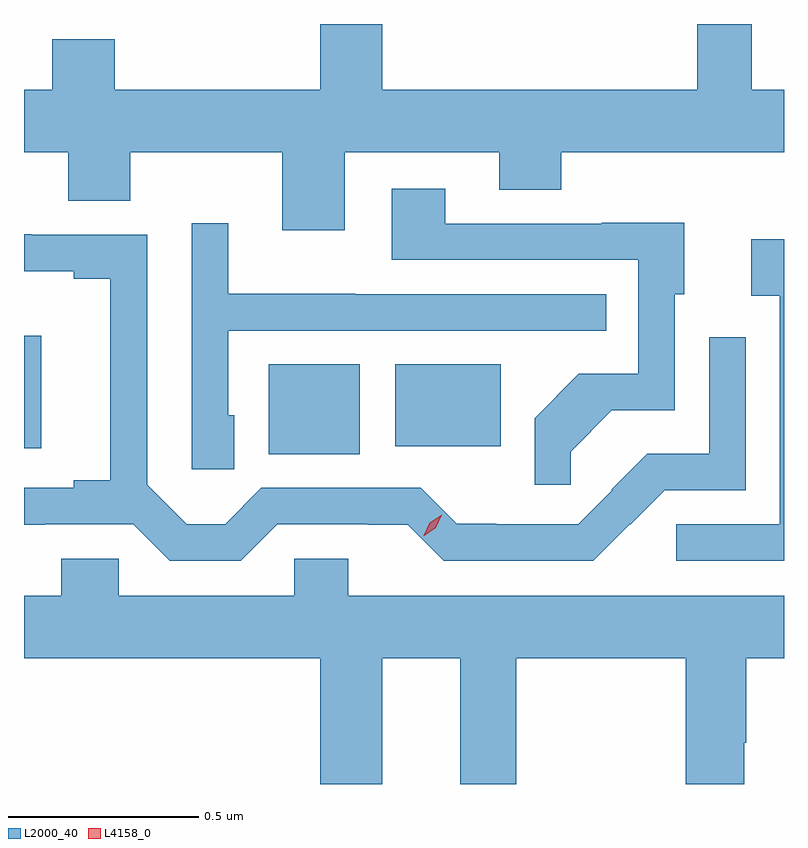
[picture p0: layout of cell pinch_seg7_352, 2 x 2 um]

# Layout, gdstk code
import gdstk
lib = gdstk.Library(unit=1e-6, precision=1e-09)
def R(c, l, rs):  # rectangles x0, y0, x1, y1
    for r in rs: c.add(gdstk.rectangle(r[:2], r[2:], *l))
def P(c, l, *ps):  # polygons
    for p in ps: c.add(gdstk.Polygon(p, *l))
L2000_40 = (2000, 40)
L4158_0 = (4158, 0)

pinch_seg7_352 = lib.new_cell('pinch_seg7_352')
R(pinch_seg7_352, L2000_40, [(488.549,1050.437,488.788,1050.673), (487.905,1050.452,487.951,1050.748), (488.882,1050.458,489.16,1050.673)])
P(pinch_seg7_352, L2000_40, [(488.144,1051.529),(487.979,1051.529),(487.979,1051.396),(487.905,1051.396),(487.905,1051.232),(488.021,1051.232),(488.021,1051.104),(488.185,1051.104),(488.185,1051.232),(488.585,1051.232),(488.585,1051.026),(488.749,1051.026),(488.749,1051.232),(489.155,1051.232),(489.155,1051.133),(489.319,1051.133),(489.319,1051.232),(489.905,1051.232),(489.905,1051.396),(489.82,1051.396),(489.82,1051.569),(489.677,1051.569),(489.677,1051.396),(488.848,1051.396),(488.848,1051.569),(488.684,1051.569),(488.684,1051.396),(488.144,1051.396)],
  [(489.344,1050.444),(489.452,1050.552),(489.618,1050.552),(489.618,1050.858),(489.643,1050.858),(489.643,1051.046),(489.425,1051.046),(489.425,1051.044),(489.013,1051.044),(489.013,1051.135),(488.873,1051.135),(488.873,1050.948),(489.522,1050.948),(489.522,1050.648),(489.365,1050.648),(489.249,1050.532),(489.249,1050.357),(489.344,1050.357)],
  [(488.458,1050.54),(488.442,1050.54),(488.442,1050.762),(489.437,1050.762),(489.437,1050.858),(488.777,1050.858),(488.777,1050.859),(488.443,1050.859),(488.443,1051.045),(488.346,1051.045),(488.346,1050.397),(488.458,1050.397)],
  [(488.571,1050.252),(488.81,1050.252),(488.81,1050.251),(488.915,1050.251),(489.009,1050.156),(489.403,1050.156),(489.499,1050.252),(489.5,1050.251),(489.591,1050.342),(489.804,1050.342),(489.804,1050.745),(489.708,1050.745),(489.708,1050.438),(489.545,1050.438),(489.451,1050.344),(489.453,1050.342),(489.363,1050.252),(489.148,1050.252),(489.148,1050.254),(489.044,1050.254),(488.949,1050.348),(488.529,1050.348),(488.434,1050.253),(488.333,1050.253),(488.229,1050.357),(488.229,1051.014),(487.925,1051.014),(487.925,1051.016),(487.905,1051.016),(487.905,1050.918),(488.036,1050.918),(488.036,1050.898),(488.132,1050.898),(488.132,1050.368),(488.036,1050.368),(488.036,1050.348),(487.905,1050.348),(487.905,1050.251),(487.959,1050.251),(487.959,1050.252),(488.192,1050.252),(488.288,1050.156),(488.475,1050.156)],
  [(489.905,1051.003),(489.819,1051.003),(489.819,1050.854),(489.894,1050.854),(489.894,1050.252),(489.621,1050.252),(489.621,1050.156),(489.905,1050.156)],
  [(488.758,1050.162),(488.616,1050.162),(488.616,1050.064),(488.154,1050.064),(488.154,1050.162),(488.003,1050.162),(488.003,1050.064),(487.905,1050.064),(487.905,1049.9),(488.684,1049.9),(488.684,1049.569),(488.848,1049.569),(488.848,1049.9),(489.053,1049.9),(489.053,1049.569),(489.201,1049.569),(489.201,1049.9),(489.646,1049.9),(489.646,1049.569),(489.801,1049.569),(489.801,1049.678),(489.806,1049.678),(489.806,1049.9),(489.905,1049.9),(489.905,1050.064),(488.758,1050.064)])
P(pinch_seg7_352, L4158_0, [(488.957,1050.222),(488.957,1050.222),(488.973,1050.256),(489.004,1050.277),(489.004,1050.277),(489.004,1050.277),(488.988,1050.243),(488.958,1050.222)])

lib.write_gds('pinch_seg7_352.gds')
